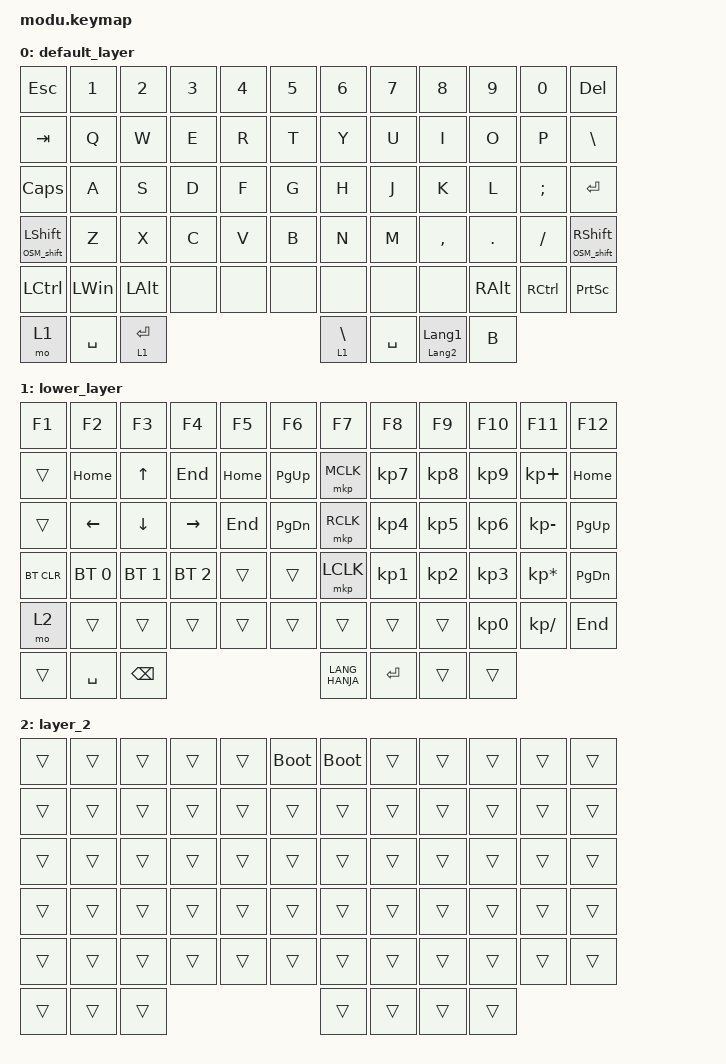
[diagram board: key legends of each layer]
/*
 * Copyright (c) 2026 EKS Inc.
 * Created by Ryu.
 * SPDX-License-Identifier: LicenseRef-EKS-NonCommercial-1.0
 *
 * Unofficial modification, based on upstream commit
 * bee0bb4b812f63f279eb67e928accc89600b5904 and customized through
 * Keymap Editor for GitHub Actions builds.
 */

#include <behaviors.dtsi>
#include <dt-bindings/zmk/bt.h>
#include <dt-bindings/zmk/keys.h>
#include <dt-bindings/zmk/pointing.h>

/ {
    combos {
        compatible = "zmk,combos";

        reset {
            bindings = <&sys_reset>;
            key-positions = <48 5 6>;
            layers = <1>;
        };

        bootloader {
            bindings = <&bootloader>;
            key-positions = <0 48 11 59>;
        };
    };

    behaviors {
        hm: homerow_mods {
            compatible = "zmk,behavior-hold-tap";
            label = "HOMEROW_MODS";
            bindings = <&kp>, <&kp>;

            #binding-cells = <2>;
            tapping-term-ms = <200>;
            quick-tap-ms = <130>;
            flavor = "tap-preferred";
        };

        OSM_shift: OSM_shift {
            compatible = "zmk,behavior-sticky-key";
            label = "OSM_SHIFT";
            bindings = <&kp>;
            #binding-cells = <1>;
            release-after-ms = <200>;
            quick-release;
        };
    };

    keymap {
        compatible = "zmk,keymap";

        default_layer {
            // -----------------------------------------------------------------
            // |ESC | 1  | 2  | 3  | 4  | 5  |   | 6  | 7  | 8  | 9  | 0  |DEL |
            // |TAB | Q  | W  | E  | R  | T  |   | Y  | U  | I  | O  | P  |HOME|
            // |CAPS| A  | S  | D  | F  | G  |   | H  | J  | K  | L  | ;  |PGUP|
            // |LSFT| Z  | X  | C  | V  | B  |   | N  | M  | ,  | .  | /  |PGDN|
            // |LCTL|LALT|LGUI|                                 |RALT|RCTL|END |
            //                |LANG|SPC |MO1 |   |BSPC|RET |MO1 | B  |

            bindings = <
&kp ESCAPE        &kp N1        &kp N2        &kp N3  &kp N4  &kp N5  &kp N6           &kp N7     &kp N8                     &kp N9    &kp N0     &kp DEL
&kp TAB           &kp Q         &kp W         &kp E   &kp R   &kp T   &kp Y            &kp U      &kp I                      &kp O     &kp P      &kp BACKSLASH
&kp CAPS          &kp A         &kp S         &kp D   &kp F   &kp G   &kp H            &kp J      &kp K                      &kp L     &kp SEMI   &kp ENTER
&OSM_shift LSHFT  &kp Z         &kp X         &kp C   &kp V   &kp B   &kp N            &kp M      &kp COMMA                  &kp DOT   &kp FSLH   &OSM_shift RIGHT_SHIFT
&kp LCTRL         &kp LEFT_WIN  &kp LEFT_ALT  &none   &none   &none   &none            &none      &none                      &kp RALT  &kp RCTRL  &kp PRINTSCREEN
&mo 1             &kp SPACE     &lt 1 ENTER                           &lt 1 BACKSLASH  &kp SPACE  &hm LANGUAGE_2 LANGUAGE_1  &kp B
            >;
        };

        lower_layer {
            bindings = <
&kp F1      &kp F2        &kp F3         &kp F4        &kp F5    &kp F6     &kp F7          &kp F8     &kp F9     &kp F10    &kp F11          &kp F12
&trans      &kp HOME      &kp UP         &kp END       &kp HOME  &kp PG_UP  &mkp MCLK       &kp KP_N7  &kp KP_N8  &kp KP_N9  &kp KP_PLUS      &kp HOME
&trans      &kp LEFT      &kp DOWN       &kp RIGHT     &kp END   &kp PG_DN  &mkp RCLK       &kp KP_N4  &kp KP_N5  &kp KP_N6  &kp KP_MINUS     &kp PG_UP
&bt BT_CLR  &bt BT_SEL 0  &bt BT_SEL 1   &bt BT_SEL 2  &trans    &trans     &mkp LCLK       &kp KP_N1  &kp KP_N2  &kp KP_N3  &kp KP_MULTIPLY  &kp PAGE_DOWN
&mo 2       &trans        &trans         &trans        &trans    &trans     &trans          &trans     &trans     &kp KP_N0  &kp KP_DIVIDE    &kp END
&trans      &kp SPACE     &kp BACKSPACE                                     &kp LANG_HANJA  &kp ENTER  &trans     &trans
            >;
        };

        layer_2 {
            bindings = <
&trans  &trans  &trans  &trans  &trans  &bootloader  &bootloader  &trans  &trans  &trans  &trans  &trans
&trans  &trans  &trans  &trans  &trans  &trans       &trans       &trans  &trans  &trans  &trans  &trans
&trans  &trans  &trans  &trans  &trans  &trans       &trans       &trans  &trans  &trans  &trans  &trans
&trans  &trans  &trans  &trans  &trans  &trans       &trans       &trans  &trans  &trans  &trans  &trans
&trans  &trans  &trans  &trans  &trans  &trans       &trans       &trans  &trans  &trans  &trans  &trans
&trans  &trans  &trans                               &trans       &trans  &trans  &trans
            >;
        };
    };
};
